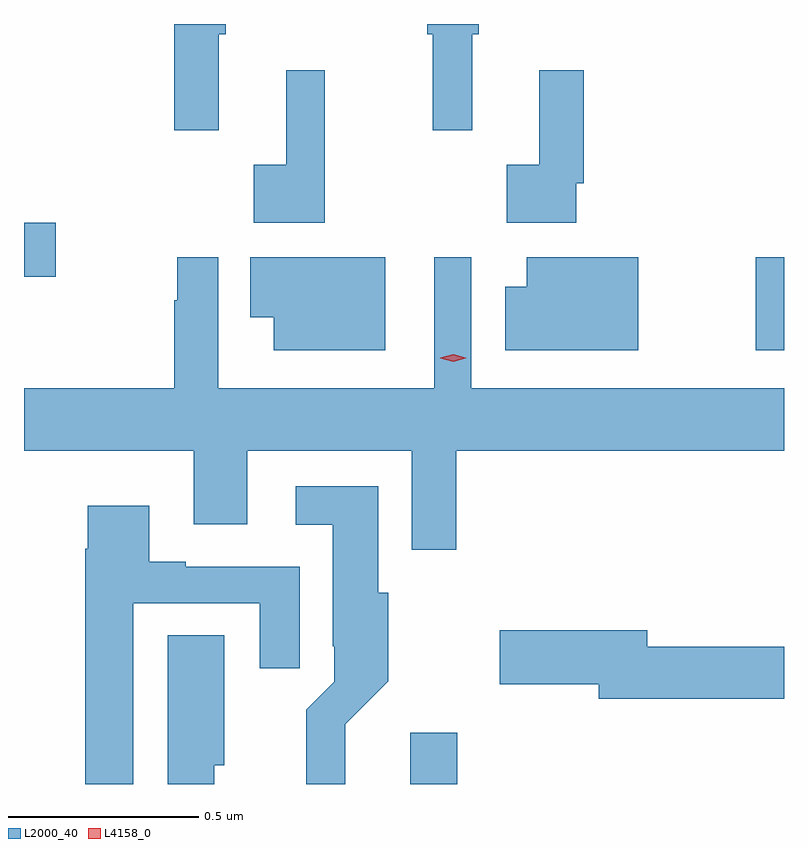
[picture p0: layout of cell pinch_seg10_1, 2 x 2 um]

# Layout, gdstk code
import gdstk
lib = gdstk.Library(unit=1e-6, precision=1e-09)
def R(c, l, rs):  # rectangles x0, y0, x1, y1
    for r in rs: c.add(gdstk.rectangle(r[:2], r[2:], *l))
def P(c, l, *ps):  # polygons
    for p in ps: c.add(gdstk.Polygon(p, *l))
L2000_40 = (2000, 40)
L4158_0 = (4158, 0)

pinch_seg10_1 = lib.new_cell('pinch_seg10_1')
R(pinch_seg10_1, L2000_40, [(1139.027,1260.811,1139.15,1260.946), (1139.936,1261.952,1140.01,1262.197), (1138.01,1262.146,1138.093,1262.288)])
P(pinch_seg10_1, L2000_40, [(1139.189,1262.784),(1139.207,1262.784),(1139.207,1262.811),(1139.071,1262.811),(1139.071,1262.784),(1139.086,1262.784),(1139.086,1262.532),(1139.189,1262.532)],
  [(1138.523,1262.784),(1138.541,1262.784),(1138.541,1262.811),(1138.405,1262.811),(1138.405,1262.532),(1138.523,1262.532)],
  [(1139.463,1262.392),(1139.483,1262.392),(1139.483,1262.689),(1139.366,1262.689),(1139.366,1262.441),(1139.28,1262.441),(1139.28,1262.288),(1139.463,1262.288)],
  [(1138.802,1262.689),(1138.7,1262.689),(1138.7,1262.441),(1138.614,1262.441),(1138.614,1262.288),(1138.802,1262.288)],
  [(1138.96,1262.197),(1138.606,1262.197),(1138.606,1262.039),(1138.667,1262.039),(1138.667,1261.952),(1138.96,1261.952)],
  [(1139.147,1261.688),(1140.01,1261.688),(1140.01,1261.852),(1139.187,1261.852),(1139.187,1262.197),(1139.09,1262.197),(1139.09,1261.852),(1138.521,1261.852),(1138.521,1262.197),(1138.413,1262.197),(1138.413,1262.084),(1138.405,1262.084),(1138.405,1261.852),(1138.01,1261.852),(1138.01,1261.688),(1138.457,1261.688),(1138.457,1261.494),(1138.597,1261.494),(1138.597,1261.688),(1139.031,1261.688),(1139.031,1261.428),(1139.147,1261.428)],
  [(1139.626,1262.197),(1139.333,1262.197),(1139.333,1262.119),(1139.276,1262.119),(1139.276,1261.952),(1139.626,1261.952)],
  [(1138.855,1260.968),(1138.968,1261.081),(1138.968,1261.314),(1138.942,1261.314),(1138.942,1261.594),(1138.725,1261.594),(1138.725,1261.493),(1138.823,1261.493),(1138.823,1261.174),(1138.827,1261.174),(1138.827,1261.08),(1138.753,1261.006),(1138.753,1260.811),(1138.855,1260.811)],
  [(1138.297,1261.287),(1138.631,1261.287),(1138.631,1261.116),(1138.735,1261.116),(1138.735,1261.383),(1138.435,1261.383),(1138.435,1261.396),(1138.339,1261.396),(1138.339,1261.543),(1138.178,1261.543),(1138.178,1261.43),(1138.171,1261.43),(1138.171,1260.811),(1138.297,1260.811)],
  [(1140.01,1261.172),(1139.65,1261.172),(1139.65,1261.215),(1139.262,1261.215),(1139.262,1261.073),(1139.522,1261.073),(1139.522,1261.036),(1140.01,1261.036)],
  [(1138.51,1260.861),(1138.537,1260.861),(1138.537,1261.202),(1138.388,1261.202),(1138.388,1260.811),(1138.51,1260.811)])
P(pinch_seg10_1, L4158_0, [(1139.139,1261.922),(1139.106,1261.932),(1139.105,1261.932),(1139.106,1261.933),(1139.139,1261.942),(1139.173,1261.933),(1139.173,1261.932),(1139.173,1261.932)])

lib.write_gds('pinch_seg10_1.gds')
